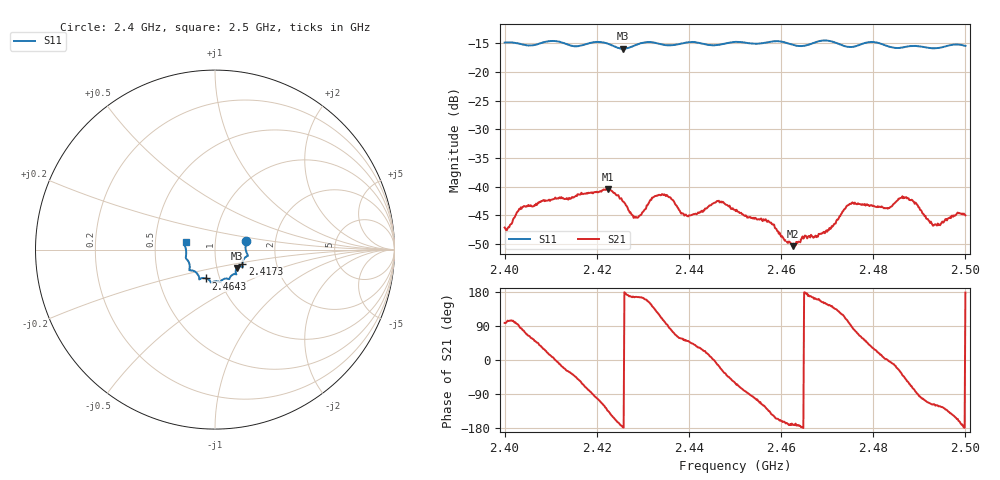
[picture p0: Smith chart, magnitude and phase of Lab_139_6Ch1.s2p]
# Hz S RI R 50
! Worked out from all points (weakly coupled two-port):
!   601 points, 2.4 GHz to 2.5 GHz, reference 50 ohm
!   highest |S21| = -40.40 dB at 2.4223 GHz (marker M1); lowest = -50.4 dB at 2.4625 GHz (marker M2)
!   lowest |S11| = -15.9 dB at 2.4257 GHz (marker M3), VSWR 1.38, Z = 62.4 - j13.1 ohm
!   |S11| at or under -10 dB: start of sweep to end of sweep
!   S12 and S22 are empty: the file has one direction only
!   S11 on the Smith chart (normalised r, x): 2.4 GHz: 1.41, +0.15; 2.4173 GHz: 1.34, -0.23; 2.4643 GHz: 0.86, -0.28; 2.5 GHz: 0.72, +0.06
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2.4e9  0.1735 0.05  -0.0006 0.00436  0 0  0 0
2.404e9  0.1719 0.0252  0.00138 0.00652  0 0  0 0
2.416667e9  0.1531 -0.0743  0.00446 -0.00764  0 0  0 0
2.417333e9  0.1526 -0.0818  0.00311 -0.00812  0 0  0 0
2.422333e9  0.1499 -0.0942  -0.00659 -0.00691  0 0  0 0
2.425667e9  0.1224 -0.1025  -0.00743 -0.000324  0 0  0 0
2.4285e9  0.1153 -0.1278  -0.0053 0.00127  0 0  0 0
2.433333e9  0.1127 -0.1365  -0.00451 0.00712  0 0  0 0
2.435667e9  0.0967 -0.1409  0.000645 0.00806  0 0  0 0
2.4395e9  0.0807 -0.1619  0.00353 0.00432  0 0  0 0
2.446e9  0.0471 -0.165  0.00734 -0.00119  0 0  0 0
2.45e9  0.0295 -0.1807  0.00313 -0.00544  0 0  0 0
2.457667e9  -0.017 -0.1829  -0.00364 -0.00322  0 0  0 0
2.4625e9  -0.0326 -0.1696  -0.00299 -0.000482  0 0  0 0
2.464333e9  -0.0503 -0.1606  -0.00345 -0.00017  0 0  0 0
2.466667e9  -0.0763 -0.1598  -0.00361 0.00089  0 0  0 0
2.4705e9  -0.0873 -0.1652  -0.00358 0.00249  0 0  0 0
2.475e9  -0.1066 -0.1261  -0.00044 0.00708  0 0  0 0
2.483333e9  -0.141 -0.0895  0.00651 -0.000291  0 0  0 0
2.487167e9  -0.1568 -0.0552  0.00496 -0.00642  0 0  0 0
2.493333e9  -0.1608 -0.0098  -0.00219 -0.00414  0 0  0 0
2.5e9  -0.1637 0.042  -0.00562 0.000216  0 0  0 0
